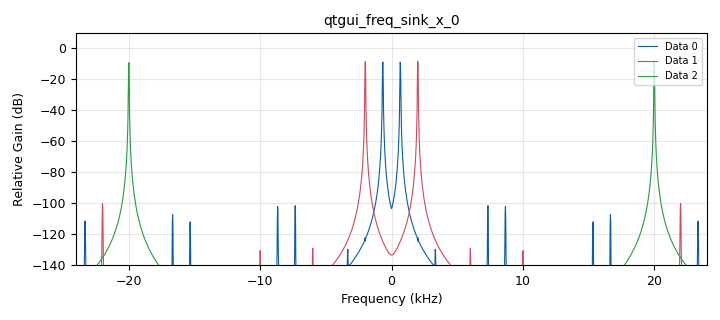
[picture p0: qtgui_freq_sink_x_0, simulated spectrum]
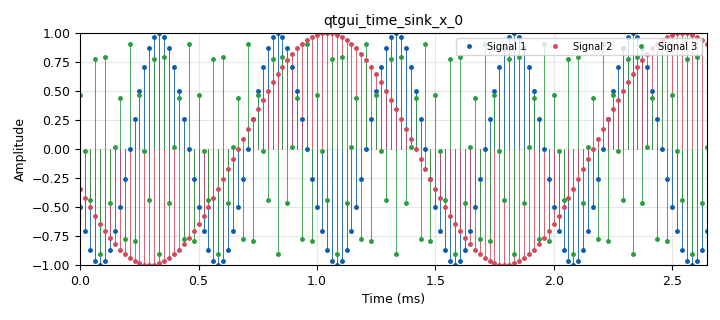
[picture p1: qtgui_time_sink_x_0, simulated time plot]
options:
  parameters:
    author: Karen_Valencia_Victor_Rodriguez_L1B_G3
    generate_options: qt_gui
    id: Lab1_Part2_p4
    output_language: python
    title: LAB1_Part2_p4
  states: {}

blocks:
- name: freq
  id: variable_qtgui_range
  parameters:
    label: frequency
    start: '1000'
    step: '1000'
    stop: '40000'
    value: '4000'
  states: {}
- name: samp_rate
  id: variable
  parameters:
    value: '32000'
  states: {state: disabled}
- name: samp_rate
  id: variable_qtgui_range
  parameters:
    label: frecuencia de muestreo
    start: '1000'
    step: '1000'
    stop: '80000'
    value: '10000'
  states: {state: disabled}
- name: samp_rate
  id: variable
  parameters:
    value: '48000'
  states: {}
- name: analog_sig_source_x_0
  id: analog_sig_source_x
  parameters:
    amp: '1'
    freq: freq
    offset: '0'
    phase: '0'
    samp_rate: samp_rate
    type: float
    waveform: analog.GR_COS_WAVE
  states: {}
- name: analog_sig_source_x_0_0
  id: analog_sig_source_x
  parameters:
    amp: '1'
    freq: freq
    offset: '0'
    phase: '0'
    samp_rate: samp_rate
    type: float
    waveform: analog.GR_COS_WAVE
  states: {}
- name: analog_sig_source_x_0_1
  id: analog_sig_source_x
  parameters:
    amp: '1'
    freq: freq
    offset: '0'
    phase: '0'
    samp_rate: samp_rate
    type: float
    waveform: analog.GR_COS_WAVE
  states: {}
- name: blocks_throttle_0
  id: blocks_throttle
  parameters:
    samples_per_second: samp_rate
    type: float
  states: {}
- name: qtgui_freq_sink_x_0
  id: qtgui_freq_sink_x
  parameters:
    average: '0.1'
    bw: samp_rate
    fc: '0'
    fftsize: '2048'
    nconnections: '3'
    norm_window: 'True'
    type: float
    wintype: window.WIN_HANN
  states: {}
- name: qtgui_time_sink_x_0
  id: qtgui_time_sink_x
  parameters:
    nconnections: '3'
    size: '128'
    srate: samp_rate
    stemplot: 'True'
    type: float
  states: {}
- name: rational_resampler_xxx_0
  id: rational_resampler_xxx
  parameters:
    decim: '1'
    interp: '6'
    type: fff
  states: {}
- name: rational_resampler_xxx_1
  id: rational_resampler_xxx
  parameters:
    decim: '10'
    interp: '20'
    type: fff
  states: {}
- name: rational_resampler_xxx_2
  id: rational_resampler_xxx
  parameters:
    decim: '5'
    interp: '1'
    type: fff
  states: {}

connections:
- [analog_sig_source_x_0, '0', rational_resampler_xxx_1, '0']
- [analog_sig_source_x_0_0, '0', rational_resampler_xxx_0, '0']
- [analog_sig_source_x_0_1, '0', rational_resampler_xxx_2, '0']
- [blocks_throttle_0, '0', qtgui_freq_sink_x_0, '1']
- [blocks_throttle_0, '0', qtgui_time_sink_x_0, '0']
- [rational_resampler_xxx_0, '0', qtgui_freq_sink_x_0, '0']
- [rational_resampler_xxx_0, '0', qtgui_time_sink_x_0, '1']
- [rational_resampler_xxx_1, '0', blocks_throttle_0, '0']
- [rational_resampler_xxx_2, '0', qtgui_freq_sink_x_0, '2']
- [rational_resampler_xxx_2, '0', qtgui_time_sink_x_0, '2']

metadata:
  file_format: 1
  grc_version: 3.10.5.1
